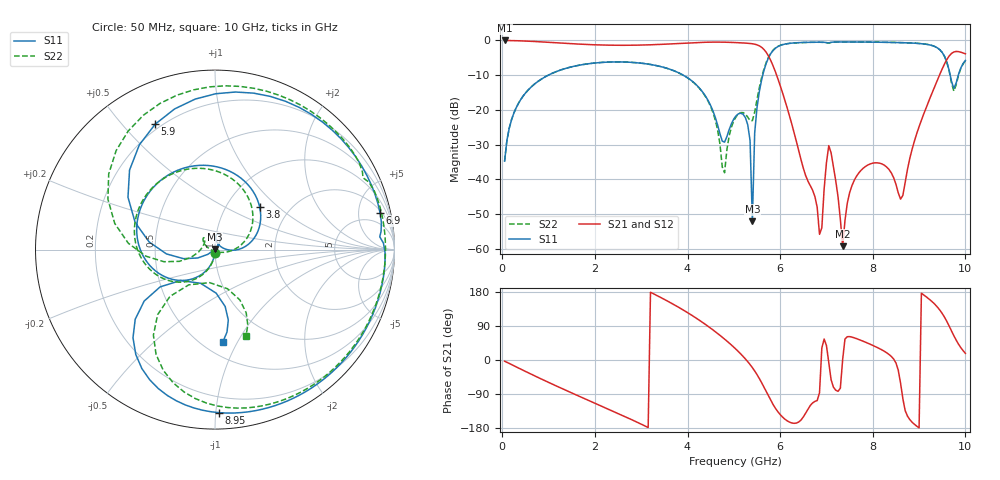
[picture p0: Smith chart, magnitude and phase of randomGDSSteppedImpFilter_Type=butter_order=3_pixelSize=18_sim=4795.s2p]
! freq	dB(S11)	phase(S11)	dB(S12)	phase(S12)
!  dB(S21)	phase(S21)	dB(S22)	phase(S22)
!S-par simulation data
#  GHz  S  DB  R 50
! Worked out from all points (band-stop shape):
!   200 points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, 50 MHz to 10 GHz, reference 50 ohm
!   highest |S21| = -0.01 dB at 50 MHz (marker M1); lowest = -59.3 dB at 7.35 GHz (marker M2)
!   |S21| within 3 dB of the highest: start of sweep to 5.675 GHz
!   lowest |S11| = -52.1 dB at 5.4 GHz (marker M3), VSWR 1.00, Z = 49.9 + j0.207 ohm
!   |S11| at or under -10 dB: start of sweep to 994.1 MHz; 3.907 GHz to 5.625 GHz (1.718 GHz wide, 36 % of centre); 9.672 GHz to 9.847 GHz (175.1 MHz wide, 1.79 % of centre)
!   |S22| runs from -38.1 to -0.4 dB; largest |S21 - S12| = 0
!   S11 on the Smith chart (normalised r, x): 50 MHz: 1.00, -0.04; 3.8 GHz: 1.42, +0.77; 5.9 GHz: 0.18, +0.62; 6.9 GHz: 2.30, +8.45; 8.95 GHz: 0.10, -1.02; 10 GHz: 0.63, -0.87
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0.05  -34.77 -93.1  -0.01 -3.1  -0.01 -3.1  -34.77 -92.9
0.5  -15.17 -121.6  -0.18 -30.1  -0.18 -30.1  -15.17 -119.7
1.75  -6.93 165.6  -1.12 -100.5  -1.12 -100.5  -6.93 172.2
3.4  -7.46 70.0  -1.15 166.4  -1.15 166.4  -7.47 83.1
3.8  -9.27 43.7  -0.88 139.6  -0.88 139.6  -9.28 57.4
4.5  -18.78 -1.2  -0.49 83.9  -0.49 83.9  -19.09 1.3
4.8  -29.30 55.1  -0.50 55.2  -0.50 55.2  -38.12 -144.6
5.05  -21.69 84.9  -0.62 28.0  -0.62 28.0  -21.95 144.4
5.3  -24.29 60.8  -0.81 -4.4  -0.81 -4.4  -22.08 135.5
5.4  -52.10 123.5  -0.96 -20.1  -0.96 -20.1  -23.09 167.5
5.5  -19.37 -154.2  -1.27 -38.5  -1.27 -38.5  -17.02 -162.0
5.9  -2.22 115.5  -9.13 -127.7  -9.13 -127.7  -2.16 135.0
6.7  -0.52 26.1  -43.13 -113.4  -43.13 -113.4  -0.53 48.1
6.9  -0.52 12.6  -53.99 31.7  -53.99 31.7  -0.53 34.3
7.05  -0.72 4.4  -30.31 -5.9  -30.31 -5.9  -0.76 25.9
7.35  -0.44 -12.3  -59.27 1.6  -59.27 1.6  -0.44 8.6
7.65  -0.45 -27.5  -39.10 56.4  -39.10 56.4  -0.45 -7.5
8.35  -0.56 -59.7  -37.18 14.7  -37.18 14.7  -0.55 -41.8
8.6  -0.63 -71.2  -45.70 -60.8  -45.70 -60.8  -0.62 -54.1
8.95  -0.83 -88.7  -26.82 -174.7  -26.82 -174.7  -0.82 -72.7
9.55  -4.58 -138.9  -6.75 112.8  -6.75 112.8  -4.62 -125.7
10  -5.77 -85.0  -3.84 17.6  -3.84 17.6  -5.83 -70.3
